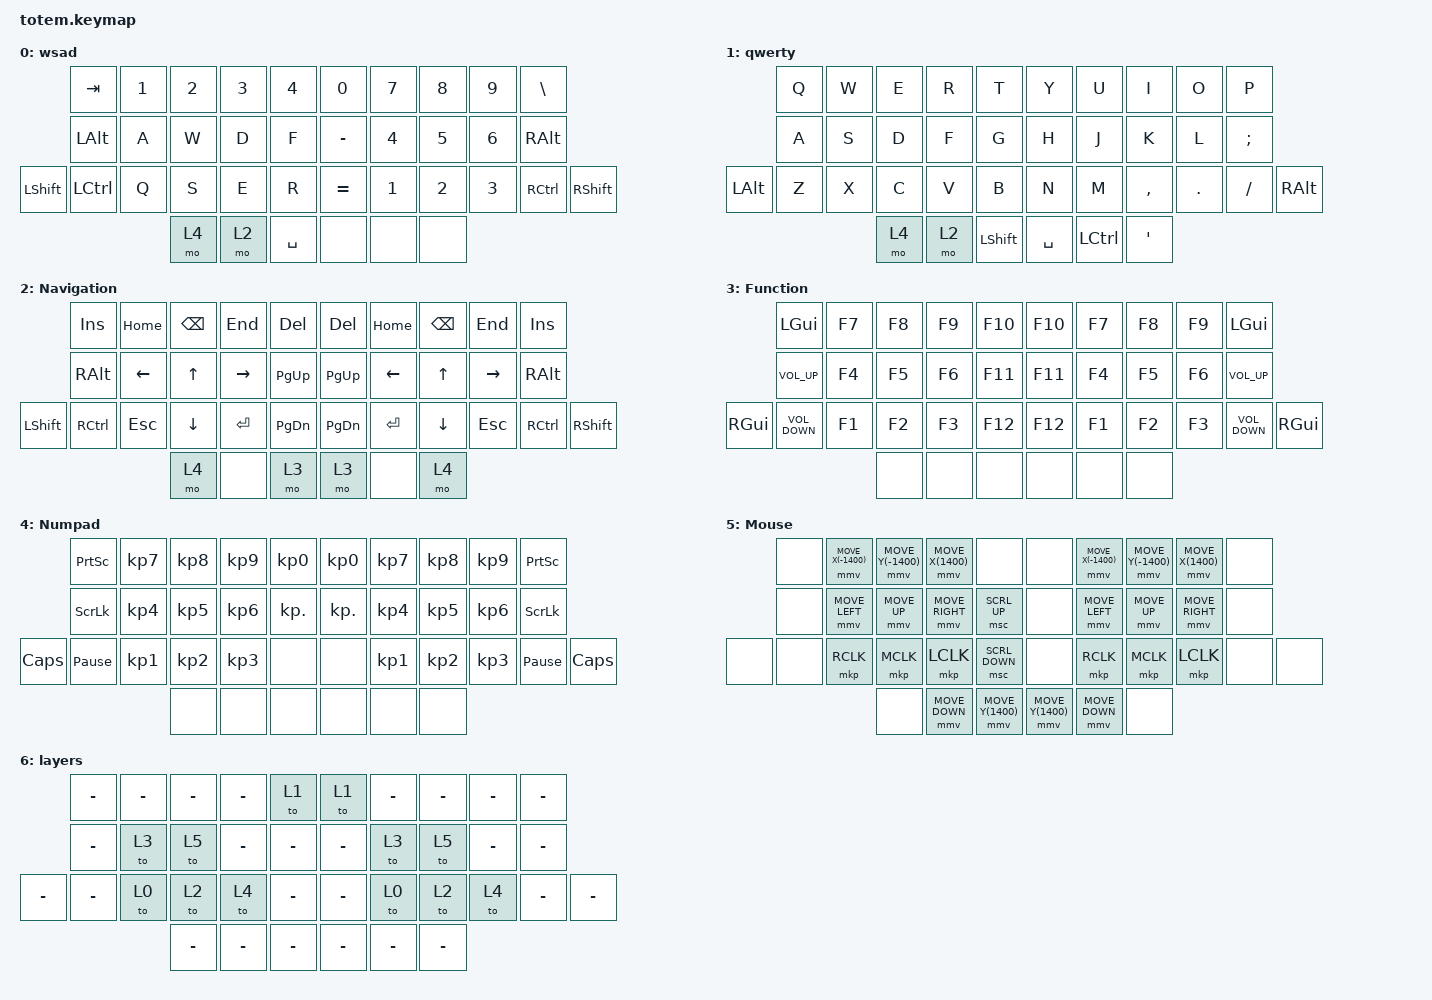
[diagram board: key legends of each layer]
#define ZMK_POINTING_DEFAULT_MOVE_VAL 80  // default: 600

#include <behaviors.dtsi>
#include <dt-bindings/zmk/keys.h>
#include <dt-bindings/zmk/pointing.h>

&mmv {
    time-to-max-speed-ms = <0>;
    acceleration-exponent = <0>;
};

&mt {
    quick-tap-ms = <0>;
    flavor = "tap-preferred";
    tapping-term-ms = <250>;
};

/ {
    combos {
        compatible = "zmk,combos";
        timeout-ms = <80>;
        require-prior-idle-ms = <0>;

        // key-press-match-history-window = <60>;
        //  global-quick-tap;
        //  combo-ignore-modifiers;

        layers_selector_L {
            bindings = <&sl 6>;
            key-positions = <10 14>;
            layers = <1 0 2 4 3 5>;
        };

        layers_selector_R {
            bindings = <&sl 6>;
            key-positions = <15 19>;
            layers = <1 0 2 4 3 5>;
        };

        //qwerty macroses------------------------------------------------

        qwerty_grave {
            bindings = <&kp GRAVE>;
            key-positions = <1 0>;
            layers = <1>;
        };

        qwerty_bslsh {
            bindings = <&kp BACKSLASH>;
            key-positions = <9 8>;
            layers = <1>;
        };

        qwerty_1 {
            bindings = <&kp NUMBER_1>;
            key-positions = <22 11>;
            layers = <1>;
        };

        qwerty_2 {
            bindings = <&kp NUMBER_2>;
            key-positions = <1 11>;
            layers = <1>;
        };

        qwerty_3 {
            bindings = <&kp NUMBER_3>;
            key-positions = <2 12>;
            layers = <1>;
        };

        qwerty_4 {
            bindings = <&kp NUMBER_4>;
            key-positions = <3 13>;
            layers = <1>;
        };

        qwerty_5 {
            bindings = <&kp NUMBER_5>;
            key-positions = <4 14>;
            layers = <1>;
        };

        qwerty_6 {
            bindings = <&kp NUMBER_6>;
            key-positions = <5 15>;
            layers = <1>;
        };

        qwerty_7 {
            bindings = <&kp NUMBER_7>;
            key-positions = <6 16>;
            layers = <1>;
        };

        qwerty_8 {
            bindings = <&kp NUMBER_8>;
            key-positions = <7 17>;
            layers = <1>;
        };

        qwerty_9 {
            bindings = <&kp NUMBER_9>;
            key-positions = <8 18>;
            layers = <1>;
        };

        qwerty_0 {
            bindings = <&kp NUMBER_0>;
            key-positions = <29 18>;
            layers = <1>;
        };

        qwerty_minus {
            bindings = <&kp MINUS>;
            key-positions = <14 25>;
            layers = <1>;
        };

        qwerty_equ {
            bindings = <&kp EQUAL>;
            key-positions = <26 15>;
            layers = <1>;
        };

        qwerty_br_L {
            bindings = <&kp LEFT_BRACKET>;
            key-positions = <27 16>;
            layers = <1>;
        };

        qwerty_br_R {
            bindings = <&kp RIGHT_BRACKET>;
            key-positions = <28 17>;
            layers = <1>;
        };

        //wsad macroses-----------------------------------
        /*
        wsad_5 {
            bindings = <&kp N5>;
            key-positions = <1 11>;
            layers = <0>;
        };

        wsad_6 {
            bindings = <&kp NUMBER_6>;
            key-positions = <12 2>;
            layers = <0>;
        };

        wsad_7 {
            bindings = <&kp N7>;
            key-positions = <3 13>;
            layers = <0>;
        };

        wsad_8 {
            bindings = <&kp N8>;
            key-positions = <4 14>;
            layers = <0>;
        };

        wsad_9 {
            bindings = <&kp N9>;
            key-positions = <1 2>;
            layers = <0>;
        };

        wsad_0 {
            bindings = <&kp N0>;
            key-positions = <3 2>;
            layers = <0>;
        };
*/

        wsad_z {
            bindings = <&kp Z>;
            key-positions = <22 11>;
            layers = <0>;
        };

        wsad_x {
            bindings = <&kp X>;
            key-positions = <23 12>;
            layers = <0>;
        };

        wsad_c {
            bindings = <&kp C>;
            key-positions = <24 13>;
            layers = <0>;
        };

        wsad_v {
            bindings = <&kp V>;
            key-positions = <14 25>;
            layers = <0>;
        };

        wsad_t {
            bindings = <&kp T>;
            key-positions = <22 23>;
            layers = <0>;
        };

        wsad_g {
            bindings = <&kp G>;
            key-positions = <23 24>;
            layers = <0>;
        };

        wsad_b {
            bindings = <&kp B>;
            key-positions = <24 25>;
            layers = <0>;
        };
/*
        wsad_min {
            bindings = <&kp MINUS>;
            key-positions = <12 2 34>;
            layers = <0>;
        };

        wsad_equ {
            bindings = <&kp EQUAL>;
            key-positions = <3 13 34>;
            layers = <0>;
        };
*/
        wsad_grave {
            bindings = <&kp GRAVE>;
            key-positions = <0 1>;
            layers = <0>;
        };
/*
        wsad_y {
            bindings = <&kp Y>;
            key-positions = <4 34>;
            layers = <0>;
        };

        wsad_u {
            bindings = <&kp U>;
            key-positions = <3 34>;
            layers = <0>;
        };

        wsad_i {
            bindings = <&kp I>;
            key-positions = <2 34>;
            layers = <0>;
        };

        wsad_o {
            bindings = <&kp O>;
            key-positions = <1 34>;
            layers = <0>;
        };

        wsad_p {
            bindings = <&kp P>;
            key-positions = <0 34>;
            layers = <0>;
        };
*/
        wsad_h {
            bindings = <&kp H>;
            key-positions = <14 34>;
            layers = <0>;
        };

        wsad_j {
            bindings = <&kp J>;
            key-positions = <13 34>;
            layers = <0>;
        };

        wsad_k {
            bindings = <&kp K>;
            key-positions = <12 34>;
            layers = <0>;
        };

        wsad_l_key {
            bindings = <&kp L>;
            key-positions = <11 34>;
            layers = <0>;
        };

        wsad_n {
            bindings = <&kp N>;
            key-positions = <25 34>;
            layers = <0>;
        };

        wsad_m {
            bindings = <&kp M>;
            key-positions = <24 34>;
            layers = <0>;
        };

        wsad_comma {
            bindings = <&kp COMMA>;
            key-positions = <23 34>;
            layers = <0>;
        };

        wsad_period {
            bindings = <&kp PERIOD>;
            key-positions = <22 34>;
            layers = <0>;
        };
/*
        wsad_sk {
            bindings = <&kp SEMI>;
            key-positions = <13 24 34>;
            layers = <0>;
        };

        wsad_slash {
            bindings = <&kp SLASH>;
            key-positions = <14 25 34>;
            layers = <0>;
        };

        wsad_bslash {
            bindings = <&kp BACKSLASH>;
            key-positions = <14 4 34>;
            layers = <0>;
        };
*/
        //nump macroses------------------------------------------------

        numpL_div {
            bindings = <&kp KP_DIVIDE>;
            key-positions = <1 11>;
            layers = <4>;
        };

        numpL_mult {
            bindings = <&kp KP_MULTIPLY>;
            key-positions = <2 12>;
            layers = <4>;
        };

        numpL_minus {
            bindings = <&kp KP_SUBTRACT>;
            key-positions = <3 13>;
            layers = <4>;
        };

        numpL_plus {
            bindings = <&kp KP_PLUS>;
            key-positions = <13 24>;
            layers = <4>;
        };

        numpL_nlock {
            bindings = <&kp KP_NUMLOCK>;
            key-positions = <0 1>;
            layers = <4>;
        };

        numpL_ent {
            bindings = <&kp KP_ENTER>;
            key-positions = <23 12>;
            layers = <4>;
        };

        numpR_div {
            bindings = <&kp KP_DIVIDE>;
            key-positions = <8 18>;
            layers = <4>;
        };

        numpR_mult {
            bindings = <&kp KP_MULTIPLY>;
            key-positions = <7 17>;
            layers = <4>;
        };

        numpR_minus {
            bindings = <&kp KP_SUBTRACT>;
            key-positions = <6 16>;
            layers = <4>;
        };

        numpR_plus {
            bindings = <&kp KP_PLUS>;
            key-positions = <16 27>;
            layers = <4>;
        };

        numpR_nlock {
            bindings = <&kp KP_NUMLOCK>;
            key-positions = <9 8>;
            layers = <4>;
        };

        numpR_ent {
            bindings = <&kp KP_ENTER>;
            key-positions = <28 17>;
            layers = <4>;
        };

        //other macroses------------------------------------------------
    };

    behaviors {
        wasd_nums: wasd_nums {
            compatible = "zmk,behavior-hold-tap";
            label = "WASD_NUMS";
            bindings = <&kp>, <&kp>;

            #binding-cells = <2>;
            quick-tap-ms = <0>;
            tapping-term-ms = <250>;
            require-prior-idle-ms = <0>;
        };

        hl_mod: hl_mod {
            compatible = "zmk,behavior-hold-tap";
            label = "HL_MOD";
            bindings = <&mo>, <&kp>;

            #binding-cells = <2>;
            tapping-term-ms = <300>;
            quick-tap-ms = <0>;
            require-prior-idle-ms = <0>;
            flavor = "balanced";
        };

        layer_stlayer: layer_stlayer {
            compatible = "zmk,behavior-hold-tap";
            label = "LAYER_STLAYER";
            bindings = <&mo>, <&sl>;

            #binding-cells = <2>;
            quick-tap-ms = <0>;
            tapping-term-ms = <250>;
            require-prior-idle-ms = <0>;
        };

        kp_stlayer: kp_stlayer {
            compatible = "zmk,behavior-hold-tap";
            label = "KP_STLAYER";
            bindings = <&kp>, <&sl>;

            #binding-cells = <2>;
            quick-tap-ms = <0>;
            tapping-term-ms = <250>;
            require-prior-idle-ms = <0>;
        };
    };

    keymap {
        compatible = "zmk,keymap";

        wsad {
            bindings = <
           &kp TAB    &kp N1  &kp N2  &kp N3  &kp N4       &kp N0     &kp N7  &kp N8  &kp N9  &kp BSLH
           &kp LALT   &kp A   &kp W   &kp D   &kp F        &kp MINUS  &kp N4  &kp N5  &kp N6  &kp RALT
&kp LSHFT  &kp LCTRL  &kp Q   &kp S   &kp E   &kp R        &kp EQUAL  &kp N1  &kp N2  &kp N3  &kp RCTRL  &kp RSHFT
                              &mo 4   &mo 2   &kp SPACE    &none      &none   &none
            >;
        };

        qwerty {
            bindings = <
          &kp Q  &kp W  &kp E  &kp R  &kp T        &kp Y      &kp U      &kp I      &kp O    &kp P
          &kp A  &kp S  &kp D  &kp F  &kp G        &kp H      &kp J      &kp K      &kp L    &kp SEMI
&kp LALT  &kp Z  &kp X  &kp C  &kp V  &kp B        &kp N      &kp M      &kp COMMA  &kp DOT  &kp FSLH  &kp RALT
                        &mo 4  &mo 2  &kp LSHFT    &kp SPACE  &kp LCTRL  &kp APOS
            >;
        };

        Navigation {
            bindings = <
           &kp INS        &kp HOME        &kp BSPC      &kp END          &kp DEL          &kp DEL    &kp HOME        &kp BACKSPACE   &kp END          &kp INS
           &kp RIGHT_ALT  &kp LEFT_ARROW  &kp UP_ARROW  &kp RIGHT_ARROW  &kp PG_UP        &kp PG_UP  &kp LEFT_ARROW  &kp UP_ARROW    &kp RIGHT_ARROW  &kp RALT
&kp LSHFT  &kp RCTRL      &kp ESC         &kp DOWN      &kp ENTER        &kp PAGE_DOWN    &kp PG_DN  &kp ENTER       &kp DOWN_ARROW  &kp ESC          &kp RCTRL  &kp RSHFT
                                          &mo 4         &none            &mo 3            &mo 3      &none           &mo 4
            >;
        };

        Function {
            bindings = <
          &kp LGUI           &kp F7  &kp F8  &kp F9  &kp F10    &kp F10  &kp F7  &kp F8  &kp F9  &kp LGUI
          &kp C_VOLUME_UP    &kp F4  &kp F5  &kp F6  &kp F11    &kp F11  &kp F4  &kp F5  &kp F6  &kp C_VOLUME_UP
&kp RGUI  &kp C_VOLUME_DOWN  &kp F1  &kp F2  &kp F3  &kp F12    &kp F12  &kp F1  &kp F2  &kp F3  &kp C_VOLUME_DOWN  &kp RGUI
                                     &none   &none   &none      &none    &none   &none
            >;
        };

        Numpad {
            bindings = <
          &kp PRINTSCREEN  &kp KP_NUMBER_7  &kp KP_NUMBER_8  &kp KP_NUMBER_9  &kp KP_N0     &kp KP_N0   &kp KP_NUMBER_7  &kp KP_NUMBER_8  &kp KP_NUMBER_9  &kp PRINTSCREEN
          &kp SCROLLLOCK   &kp KP_NUMBER_4  &kp KP_NUMBER_5  &kp KP_NUMBER_6  &kp KP_DOT    &kp KP_DOT  &kp KP_NUMBER_4  &kp KP_NUMBER_5  &kp KP_NUMBER_6  &kp SCROLLLOCK
&kp CAPS  &kp PAUSE_BREAK  &kp KP_NUMBER_1  &kp KP_NUMBER_2  &kp KP_NUMBER_3  &none         &none       &kp KP_NUMBER_1  &kp KP_NUMBER_2  &kp KP_NUMBER_3  &kp PAUSE_BREAK  &kp CLCK
                                            &none            &none            &none         &none       &none            &none
            >;
        };

        Mouse {
            bindings = <
       &none  &mmv MOVE_X(-1400)  &mmv MOVE_Y(-1400)  &mmv MOVE_X(1400)  &none                &none              &mmv MOVE_X(-1400)  &mmv MOVE_Y(-1400)  &mmv MOVE_X(1400)  &none
       &none  &mmv MOVE_LEFT      &mmv MOVE_UP        &mmv MOVE_RIGHT    &msc SCRL_UP         &none              &mmv MOVE_LEFT      &mmv MOVE_UP        &mmv MOVE_RIGHT    &none
&none  &none  &mkp RCLK           &mkp MCLK           &mkp LCLK          &msc SCRL_DOWN       &none              &mkp RCLK           &mkp MCLK           &mkp LCLK          &none  &none
                                  &none               &mmv MOVE_DOWN     &mmv MOVE_Y(1400)    &mmv MOVE_Y(1400)  &mmv MOVE_DOWN      &none
            >;
        };

        layers {
            bindings = <
           &kp MINUS  &kp MINUS  &kp MINUS  &kp MINUS  &to 1        &to 1      &kp MINUS  &kp MINUS  &kp MINUS  &kp MINUS
           &kp MINUS  &to 3      &to 5      &kp MINUS  &kp MINUS    &kp MINUS  &to 3      &to 5      &kp MINUS  &kp MINUS
&kp MINUS  &kp MINUS  &to 0      &to 2      &to 4      &kp MINUS    &kp MINUS  &to 0      &to 2      &to 4      &kp MINUS  &kp MINUS
                                 &kp MINUS  &kp MINUS  &kp MINUS    &kp MINUS  &kp MINUS  &kp MINUS
            >;
        };
    };

    conditional_layers { compatible = "zmk,conditional-layers"; };
};
